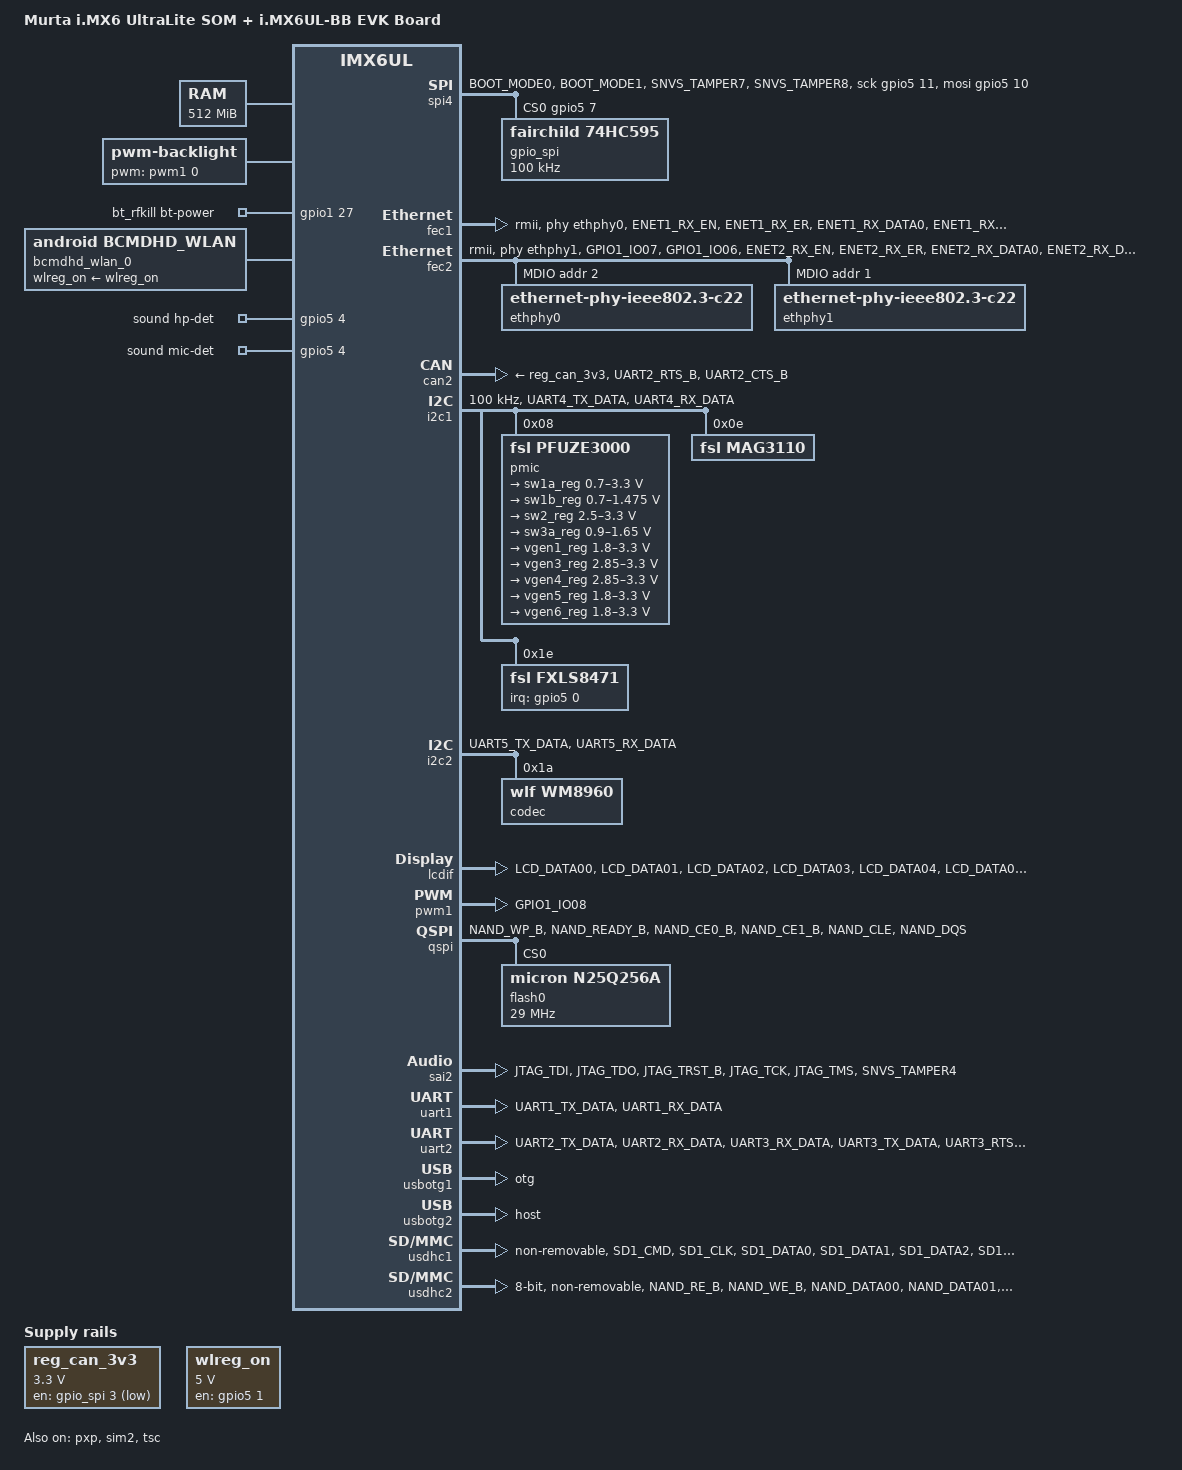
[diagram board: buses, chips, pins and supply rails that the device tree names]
/*
 * Copyright (C) 2017 Murata Electronics
 * Copyright 2017 NXP
 *
 * This program is free software; you can redistribute it and/or modify
 * it under the terms of the GNU General Public License version 2 as
 * published by the Free Software Foundation.
 */

/dts-v1/;

#include <dt-bindings/input/input.h>
#include "imx6ul.dtsi"

/ {
	model = "Murta i.MX6 UltraLite SOM + i.MX6UL-BB EVK Board";
	compatible = "fsl,imx6ul-14x14-evk", "fsl,imx6ul";

	chosen {
		stdout-path = &uart1;
	};

	memory {
		reg = <0x80000000 0x20000000>;
	};

	backlight {
		compatible = "pwm-backlight";
		pwms = <&pwm1 0 5000000>;
		brightness-levels = <0 4 8 16 32 64 128 255>;
		default-brightness-level = <6>;
		status = "okay";
	};

	pxp_v4l2 {
		compatible = "fsl,imx6ul-pxp-v4l2", "fsl,imx6sx-pxp-v4l2", "fsl,imx6sl-pxp-v4l2";
		status = "okay";
	};

	bt_rfkill {
		compatible = "fsl,mxc_bt_rfkill";
		bt-power-gpios = <&gpio1 27 0>;
		status ="okay";
	};

	regulators {
		compatible = "simple-bus";
		#address-cells = <1>;
		#size-cells = <0>;

		/* On i.MX6UL-BB */
		reg_can_3v3: regulator@0 {
			compatible = "regulator-fixed";
			reg = <0>;
			regulator-name = "can-3v3";
			regulator-min-microvolt = <3300000>;
			regulator-max-microvolt = <3300000>;
			gpios = <&gpio_spi 3 GPIO_ACTIVE_LOW>;
		};

		/*
		 * SOM WiFi/BT regulator control
		 * WL_REG_ON: SNVS_TAMPER1 [GPIO5_IO01]
		 * BT_REG_ON: UART3_RTS_B  [GPIO1_IO27]
		 */
		wlreg_on: fixedregulator@100 {
			compatible = "regulator-fixed";
			regulator-min-microvolt = <5000000>;
			regulator-max-microvolt = <5000000>;
			regulator-name = "wlreg_on";
			/*regulator-boot-on;*/
			gpio = <&gpio5 1 0>;
			startup-delay-us = <100>;
			enable-active-high;
		};

	};
	bcmdhd_wlan_0: bcmdhd_wlan@0 {
		compatible = "android,bcmdhd_wlan";
		wlreg_on-supply = <&wlreg_on>;
	};

	sound {
		compatible = "fsl,imx6ul-evk-wm8960",
			   "fsl,imx-audio-wm8960";
		model = "wm8960-audio";
		cpu-dai = <&sai2>;
		audio-codec = <&codec>;
		asrc-controller = <&asrc>;
		codec-master;
		gpr = <&gpr 4 0x100000 0x100000>;
		/*
                 * hp-det = <hp-det-pin hp-det-polarity>;
		 * hp-det-pin: JD1 JD2  or JD3
		 * hp-det-polarity = 0: hp detect high for headphone
		 * hp-det-polarity = 1: hp detect high for speaker
		 */
		hp-det = <3 0>;
		hp-det-gpios = <&gpio5 4 0>;
		mic-det-gpios = <&gpio5 4 0>;
		audio-routing =
			"Headphone Jack", "HP_L",
			"Headphone Jack", "HP_R",
			"Ext Spk", "SPK_LP",
			"Ext Spk", "SPK_LN",
			"Ext Spk", "SPK_RP",
			"Ext Spk", "SPK_RN",
			"LINPUT2", "Mic Jack",
			"LINPUT3", "Mic Jack",
			"RINPUT1", "Main MIC",
			"RINPUT2", "Main MIC",
			"Mic Jack", "MICB",
			"Main MIC", "MICB",
			"CPU-Playback", "ASRC-Playback",
			"Playback", "CPU-Playback",
			"ASRC-Capture", "CPU-Capture",
			"CPU-Capture", "Capture";
	};

	/* i.MX6UL-BB serial-parallel IO extender */
	spi4 {
		compatible = "spi-gpio";
		pinctrl-names = "default";
		pinctrl-0 = <&pinctrl_spi4>;
		pinctrl-assert-gpios = <&gpio5 8 GPIO_ACTIVE_LOW>;
		status = "okay";
		gpio-sck = <&gpio5 11 0>;
		gpio-mosi = <&gpio5 10 0>;
		cs-gpios = <&gpio5 7 0>;
		num-chipselects = <1>;
		#address-cells = <1>;
		#size-cells = <0>;

		gpio_spi: gpio_spi@0 {
			compatible = "fairchild,74hc595";
			gpio-controller;
			#gpio-cells = <2>;
			reg = <0>;
			registers-number = <1>;
			registers-default = /bits/ 8 <0x57>;
			spi-max-frequency = <100000>;
		};
	};
};

/* SOM: PMIC is used with I2C1 to power the ARM/SOC */
&cpu0 {
	/*
	 * on i.MX6UL, no seperated VDD_ARM_IN and VDD_SOC_IN,
	 * to align with other platform and use the same cpufreq
	 * driver, still use the seperated OPP define for arm
	 * and soc.
	 */
	operating-points = <
		/* kHz	uV */
		528000	1175000
		396000	1175000
		198000	1175000
	>;
	fsl,soc-operating-points = <
		/* KHz	uV */
		528000	1175000
		396000	1175000
		198000	1175000
	>;
	arm-supply = <&sw1b_reg>;
	soc-supply = <&sw1b_reg>;
	fsl,arm-soc-shared = <1>;
};

&clks {
	assigned-clocks = <&clks IMX6UL_CLK_PLL4_AUDIO_DIV>;
	assigned-clock-rates = <786432000>;
};

&csi {
	status = "disabled";

	port {
		csi1_ep: endpoint {
			remote-endpoint = <&ov5640_ep>;
		};
	};
};

&fec1 {
	pinctrl-names = "default";
	pinctrl-0 = <&pinctrl_enet1>;
	phy-mode = "rmii";
	phy-handle = <&ethphy0>;
	status = "okay";
};

&fec2 {
	pinctrl-names = "default";
	pinctrl-0 = <&pinctrl_enet2>;
	phy-mode = "rmii";
	phy-handle = <&ethphy1>;
	status = "okay";

	mdio {
		#address-cells = <1>;
		#size-cells = <0>;

		ethphy0: ethernet-phy@2 {
			compatible = "ethernet-phy-ieee802.3-c22";
			reg = <2>;
		};

		ethphy1: ethernet-phy@1 {
			compatible = "ethernet-phy-ieee802.3-c22";
			reg = <1>;
		};
	};
};

&can2 {
	pinctrl-names = "default";
	pinctrl-0 = <&pinctrl_flexcan2>;
	xceiver-supply = <&reg_can_3v3>;
	status = "okay";
};

&gpc {
	fsl,cpu_pupscr_sw2iso = <0x1>;
	fsl,cpu_pupscr_sw = <0x0>;
	fsl,cpu_pdnscr_iso2sw = <0x1>;
	fsl,cpu_pdnscr_iso = <0x1>;
	fsl,ldo-bypass = <1>; /* PMIC, ldo-bypass */
};

&i2c1 {
	clock-frequency = <100000>;
	pinctrl-names = "default";
	pinctrl-0 = <&pinctrl_i2c1>;
	status = "okay";

	pmic: pfuze3000@08 {
		compatible = "fsl,pfuze3000";
		reg = <0x08>;

		regulators {
			/* Supplies NVCC_GPIO, NVCC_ENET, NVCC_UART, NVCC_LCDIF, NVCC_NAND and
			   external peripheral as DCDC_3V3 */
			sw1a_reg: sw1a {
					regulator-min-microvolt = <700000>;
					regulator-max-microvolt = <3300000>;
					regulator-boot-on;
					regulator-always-on;
					regulator-ramp-delay = <6250>;
			};

			/* VDD_ARM_SOC_IN */
			sw1b_reg: sw1b {
				regulator-min-microvolt = <700000>;
				regulator-max-microvolt = <1475000>;
				regulator-boot-on;
				regulator-always-on;
				regulator-ramp-delay = <6250>;
			};

			/* Powers WiFi VBAT and external peripheral as VPERI_3V3 */
			sw2_reg: sw2 {
				regulator-min-microvolt = <2500000>;
				regulator-max-microvolt = <3300000>;
				regulator-boot-on;
				regulator-always-on;
			};

			/* DRAM (NVCC_DRAM, DRAM1V35) supply */
			sw3a_reg: sw3 {
				regulator-min-microvolt = <900000>;
				regulator-max-microvolt = <1650000>;
				regulator-boot-on;
				regulator-always-on;
			};

			/* DRAM supply */
			vref_reg: vrefddr {
				regulator-boot-on;
				regulator-always-on;
			};

			/* VDDA_ADC_3P3.  Connect ADC_VREFH to supply rail for ADC */
			vgen1_reg: vldo1 {
				regulator-min-microvolt = <1800000>;
				regulator-max-microvolt = <3300000>;
				regulator-always-on;
			};

			/* NVCC_SD and VIO reference for WiFi/BT */
			vgen3_reg: vccsd {
				regulator-min-microvolt = <2850000>;
				regulator-max-microvolt = <3300000>;
				regulator-always-on;
			};

			/* VDD_HIGH_IN */
			vgen4_reg: v33 {
				regulator-min-microvolt = <2850000>;
				regulator-max-microvolt = <3300000>;
				regulator-always-on;
			};

			/* Not used */
			vgen5_reg: vldo3 {
				regulator-min-microvolt = <1800000>;
				regulator-max-microvolt = <3300000>;
			};

			/* VLDO_1V8: not used */
			vgen6_reg: vldo4 {
				regulator-min-microvolt = <1800000>;
				regulator-max-microvolt = <3300000>;
			};
		};
	};

	mag3110@0e {
		compatible = "fsl,mag3110";
		reg = <0x0e>;
		position = <2>;
	};

	fxls8471@1e {
		compatible = "fsl,fxls8471";
		reg = <0x1e>;
		position = <0>;
		interrupt-parent = <&gpio5>;
		interrupts = <0 8>;
	};
};

&i2c2 {
	clock_frequency = <100000>;
	pinctrl-names = "default";
	pinctrl-0 = <&pinctrl_i2c2>;
	status = "okay";

	codec: wm8960@1a {
		compatible = "wlf,wm8960";
		reg = <0x1a>;
		clocks = <&clks IMX6UL_CLK_SAI2>;
		clock-names = "mclk";
		wlf,shared-lrclk;
	};

	ov5640: ov5640@3c {
		compatible = "ovti,ov5640";
		reg = <0x3c>;
		pinctrl-names = "default";
		pinctrl-0 = <&pinctrl_csi1>;
		clocks = <&clks IMX6UL_CLK_CSI>;
		clock-names = "csi_mclk";
		pwn-gpios = <&gpio_spi 6 1>;
		rst-gpios = <&gpio_spi 5 0>;
		csi_id = <0>;
		mclk = <24000000>;
		mclk_source = <0>;
		status = "disabled";
		port {
			ov5640_ep: endpoint {
				remote-endpoint = <&csi1_ep>;
			};
		};
	};
};

&iomuxc {
	pinctrl-names = "default";
	pinctrl-0 = <&pinctrl_hog_1>;
	imx6ul-som-evk {
		pinctrl_hog_1: hoggrp-1 {
			fsl,pins = <
			/* SOM does not use SD1_CD, _VSELECT, _RESET */
				MX6UL_PAD_SNVS_TAMPER0__GPIO5_IO00	0x80000000
			>;
		};

		/* SOM WiFi control
		* WL_REG_ON	SNVS_TAMPER1	GPIO5_IO01
		* WL_HOST_WAKE	SNVS_TAMPER3	GPIO5_IO03
		*/
		pinctrl_wifi: wifigrp {
			fsl,pins = <
				MX6UL_PAD_SNVS_TAMPER1__GPIO5_IO01 0x03029
				MX6UL_PAD_SNVS_TAMPER3__GPIO5_IO03 0x79
			>;
		};

		/* SOM BT control
		* BT_REG_ON	UART3_RTS_B	GPIO1_IO27
		* BT_DEV_WAKE	UART3_CTS_B	GPIO1_IO26
		* BT_HOST_WAKE	SNVS_TAMPER6	GPIO5_IO6
		*/
		pinctrl_bt_ctrl: bt_ctrlgrp {
			fsl,pins = <
				MX6UL_PAD_UART3_RTS_B__GPIO1_IO27    0x79
				MX6UL_PAD_UART3_CTS_B__GPIO1_IO26    0x79
				MX6UL_PAD_SNVS_TAMPER6__GPIO5_IO06   0x79
			>;
		};

		pinctrl_csi1: csi1grp {
			fsl,pins = <
				MX6UL_PAD_CSI_MCLK__CSI_MCLK		0x1b088
				MX6UL_PAD_CSI_PIXCLK__CSI_PIXCLK	0x1b088
				MX6UL_PAD_CSI_VSYNC__CSI_VSYNC		0x1b088
				MX6UL_PAD_CSI_HSYNC__CSI_HSYNC		0x1b088
				MX6UL_PAD_CSI_DATA00__CSI_DATA02	0x1b088
				MX6UL_PAD_CSI_DATA01__CSI_DATA03	0x1b088
				MX6UL_PAD_CSI_DATA02__CSI_DATA04	0x1b088
				MX6UL_PAD_CSI_DATA03__CSI_DATA05	0x1b088
				MX6UL_PAD_CSI_DATA04__CSI_DATA06	0x1b088
				MX6UL_PAD_CSI_DATA05__CSI_DATA07	0x1b088
				MX6UL_PAD_CSI_DATA06__CSI_DATA08	0x1b088
				MX6UL_PAD_CSI_DATA07__CSI_DATA09	0x1b088
			>;
		};

		pinctrl_enet1: enet1grp {
			fsl,pins = <
				MX6UL_PAD_ENET1_RX_EN__ENET1_RX_EN	0x1b0b0
				MX6UL_PAD_ENET1_RX_ER__ENET1_RX_ER	0x1b0b0
				MX6UL_PAD_ENET1_RX_DATA0__ENET1_RDATA00	0x1b0b0
				MX6UL_PAD_ENET1_RX_DATA1__ENET1_RDATA01	0x1b0b0
				MX6UL_PAD_ENET1_TX_EN__ENET1_TX_EN	0x1b0b0
				MX6UL_PAD_ENET1_TX_DATA0__ENET1_TDATA00	0x1b0b0
				MX6UL_PAD_ENET1_TX_DATA1__ENET1_TDATA01	0x1b0b0
				MX6UL_PAD_ENET1_TX_CLK__ENET1_REF_CLK1	0x4001b031
			>;
		};

		pinctrl_enet2: enet2grp {
			fsl,pins = <
				MX6UL_PAD_GPIO1_IO07__ENET2_MDC		0x1b0b0
				MX6UL_PAD_GPIO1_IO06__ENET2_MDIO	0x1b0b0
				MX6UL_PAD_ENET2_RX_EN__ENET2_RX_EN	0x1b0b0
				MX6UL_PAD_ENET2_RX_ER__ENET2_RX_ER	0x1b0b0
				MX6UL_PAD_ENET2_RX_DATA0__ENET2_RDATA00	0x1b0b0
				MX6UL_PAD_ENET2_RX_DATA1__ENET2_RDATA01	0x1b0b0
				MX6UL_PAD_ENET2_TX_EN__ENET2_TX_EN	0x1b0b0
				MX6UL_PAD_ENET2_TX_DATA0__ENET2_TDATA00	0x1b0b0
				MX6UL_PAD_ENET2_TX_DATA1__ENET2_TDATA01	0x1b0b0
				MX6UL_PAD_ENET2_TX_CLK__ENET2_REF_CLK2	0x4001b031
			>;
		};

		pinctrl_flexcan2: flexcan2grp{
			fsl,pins = <
				MX6UL_PAD_UART2_RTS_B__FLEXCAN2_RX	0x1b020
				MX6UL_PAD_UART2_CTS_B__FLEXCAN2_TX	0x1b020
			>;
		};

		pinctrl_i2c1: i2c1grp {
			fsl,pins = <
				MX6UL_PAD_UART4_TX_DATA__I2C1_SCL 0x4001b8b0
				MX6UL_PAD_UART4_RX_DATA__I2C1_SDA 0x4001b8b0
			>;
		};

		pinctrl_i2c2: i2c2grp {
			fsl,pins = <
				MX6UL_PAD_UART5_TX_DATA__I2C2_SCL 0x4001b8b0
				MX6UL_PAD_UART5_RX_DATA__I2C2_SDA 0x4001b8b0
			>;
		};

		pinctrl_lcdif_dat: lcdifdatgrp {
			fsl,pins = <
				MX6UL_PAD_LCD_DATA00__LCDIF_DATA00  0x79
				MX6UL_PAD_LCD_DATA01__LCDIF_DATA01  0x79
				MX6UL_PAD_LCD_DATA02__LCDIF_DATA02  0x79
				MX6UL_PAD_LCD_DATA03__LCDIF_DATA03  0x79
				MX6UL_PAD_LCD_DATA04__LCDIF_DATA04  0x79
				MX6UL_PAD_LCD_DATA05__LCDIF_DATA05  0x79
				MX6UL_PAD_LCD_DATA06__LCDIF_DATA06  0x79
				MX6UL_PAD_LCD_DATA07__LCDIF_DATA07  0x79
				MX6UL_PAD_LCD_DATA08__LCDIF_DATA08  0x79
				MX6UL_PAD_LCD_DATA09__LCDIF_DATA09  0x79
				MX6UL_PAD_LCD_DATA10__LCDIF_DATA10  0x79
				MX6UL_PAD_LCD_DATA11__LCDIF_DATA11  0x79
				MX6UL_PAD_LCD_DATA12__LCDIF_DATA12  0x79
				MX6UL_PAD_LCD_DATA13__LCDIF_DATA13  0x79
				MX6UL_PAD_LCD_DATA14__LCDIF_DATA14  0x79
				MX6UL_PAD_LCD_DATA15__LCDIF_DATA15  0x79
				MX6UL_PAD_LCD_DATA16__LCDIF_DATA16  0x79
				MX6UL_PAD_LCD_DATA17__LCDIF_DATA17  0x79
				MX6UL_PAD_LCD_DATA18__LCDIF_DATA18  0x79
				MX6UL_PAD_LCD_DATA19__LCDIF_DATA19  0x79
				MX6UL_PAD_LCD_DATA20__LCDIF_DATA20  0x79
				MX6UL_PAD_LCD_DATA21__LCDIF_DATA21  0x79
				MX6UL_PAD_LCD_DATA22__LCDIF_DATA22  0x79
				MX6UL_PAD_LCD_DATA23__LCDIF_DATA23  0x79
			>;
		};

		pinctrl_lcdif_ctrl: lcdifctrlgrp {
			fsl,pins = <
				MX6UL_PAD_LCD_CLK__LCDIF_CLK	    0x79
				MX6UL_PAD_LCD_ENABLE__LCDIF_ENABLE  0x79
				MX6UL_PAD_LCD_HSYNC__LCDIF_HSYNC    0x79
				MX6UL_PAD_LCD_VSYNC__LCDIF_VSYNC    0x79
				/* used for lcd reset */
				MX6UL_PAD_SNVS_TAMPER9__GPIO5_IO09  0x79
			>;
		};

		pinctrl_pwm1: pwm1grp {
			fsl,pins = <
				MX6UL_PAD_GPIO1_IO08__PWM1_OUT   0x110b0
			>;
		};

		pinctrl_qspi: qspigrp {
			fsl,pins = <
				MX6UL_PAD_NAND_WP_B__QSPI_A_SCLK      0x70a1
				MX6UL_PAD_NAND_READY_B__QSPI_A_DATA00 0x70a1
				MX6UL_PAD_NAND_CE0_B__QSPI_A_DATA01   0x70a1
				MX6UL_PAD_NAND_CE1_B__QSPI_A_DATA02   0x70a1
				MX6UL_PAD_NAND_CLE__QSPI_A_DATA03     0x70a1
				MX6UL_PAD_NAND_DQS__QSPI_A_SS0_B      0x70a1
			>;
		};

		pinctrl_sai2: sai2grp {
			fsl,pins = <
				MX6UL_PAD_JTAG_TDI__SAI2_TX_BCLK	0x17088
				MX6UL_PAD_JTAG_TDO__SAI2_TX_SYNC	0x17088
				MX6UL_PAD_JTAG_TRST_B__SAI2_TX_DATA	0x11088
				MX6UL_PAD_JTAG_TCK__SAI2_RX_DATA	0x11088
				MX6UL_PAD_JTAG_TMS__SAI2_MCLK		0x17088
				MX6UL_PAD_SNVS_TAMPER4__GPIO5_IO04	0x17059
			>;
		};

		pinctrl_sim2_1: sim2grp-1 {
			fsl,pins = <
				MX6UL_PAD_CSI_DATA03__SIM2_PORT1_PD		0xb808
				MX6UL_PAD_CSI_DATA04__SIM2_PORT1_CLK		0x11
				MX6UL_PAD_CSI_DATA05__SIM2_PORT1_RST_B		0xb810
				MX6UL_PAD_CSI_DATA06__SIM2_PORT1_SVEN		0xb810
				MX6UL_PAD_CSI_DATA07__SIM2_PORT1_TRXD		0xb811
				MX6UL_PAD_CSI_DATA02__GPIO4_IO23		0x3008
			>;
		};

		pinctrl_spi4: spi4grp {
			fsl,pins = <
				MX6UL_PAD_BOOT_MODE0__GPIO5_IO10	0x70a1
				MX6UL_PAD_BOOT_MODE1__GPIO5_IO11	0x70a1
				MX6UL_PAD_SNVS_TAMPER7__GPIO5_IO07	0x70a1
				MX6UL_PAD_SNVS_TAMPER8__GPIO5_IO08	0x80000000
			>;
		};

		pinctrl_tsc: tscgrp {
			fsl,pins = <
				MX6UL_PAD_GPIO1_IO01__GPIO1_IO01	0xb0
				MX6UL_PAD_GPIO1_IO02__GPIO1_IO02	0xb0
				MX6UL_PAD_GPIO1_IO03__GPIO1_IO03	0xb0
				MX6UL_PAD_GPIO1_IO04__GPIO1_IO04	0xb0
			>;
		};

		pinctrl_uart1: uart1grp {
			fsl,pins = <
				MX6UL_PAD_UART1_TX_DATA__UART1_DCE_TX 0x1b0b1
				MX6UL_PAD_UART1_RX_DATA__UART1_DCE_RX 0x1b0b1
			>;
		};

		pinctrl_uart2: uart2grp {
			fsl,pins = <
				MX6UL_PAD_UART2_TX_DATA__UART2_DCE_TX	0x1b0b1
				MX6UL_PAD_UART2_RX_DATA__UART2_DCE_RX	0x1b0b1
				MX6UL_PAD_UART3_RX_DATA__UART2_DCE_RTS	0x1b0b1
				MX6UL_PAD_UART3_TX_DATA__UART2_DCE_CTS	0x1b0b1
			>;
		};

		pinctrl_usdhc1: usdhc1grp {
			fsl,pins = <
				MX6UL_PAD_SD1_CMD__USDHC1_CMD     0x17059
				MX6UL_PAD_SD1_CLK__USDHC1_CLK     0x10071
				MX6UL_PAD_SD1_DATA0__USDHC1_DATA0 0x17059
				MX6UL_PAD_SD1_DATA1__USDHC1_DATA1 0x17059
				MX6UL_PAD_SD1_DATA2__USDHC1_DATA2 0x17059
				MX6UL_PAD_SD1_DATA3__USDHC1_DATA3 0x17059
			>;
		};

		pinctrl_usdhc2: usdhc2grp {
			fsl,pins = <
				MX6UL_PAD_NAND_RE_B__USDHC2_CLK     0x10069
				MX6UL_PAD_NAND_WE_B__USDHC2_CMD     0x17059
				MX6UL_PAD_NAND_DATA00__USDHC2_DATA0 0x17059
				MX6UL_PAD_NAND_DATA01__USDHC2_DATA1 0x17059
				MX6UL_PAD_NAND_DATA02__USDHC2_DATA2 0x17059
				MX6UL_PAD_NAND_DATA03__USDHC2_DATA3 0x17059
			>;
		};

		pinctrl_usdhc2_8bit: usdhc2grp_8bit {
			fsl,pins = <
				MX6UL_PAD_NAND_RE_B__USDHC2_CLK     0x10069
				MX6UL_PAD_NAND_WE_B__USDHC2_CMD     0x17059
				MX6UL_PAD_NAND_DATA00__USDHC2_DATA0 0x17059
				MX6UL_PAD_NAND_DATA01__USDHC2_DATA1 0x17059
				MX6UL_PAD_NAND_DATA02__USDHC2_DATA2 0x17059
				MX6UL_PAD_NAND_DATA03__USDHC2_DATA3 0x17059
				MX6UL_PAD_NAND_DATA04__USDHC2_DATA4 0x17059
				MX6UL_PAD_NAND_DATA05__USDHC2_DATA5 0x17059
				MX6UL_PAD_NAND_DATA06__USDHC2_DATA6 0x17059
				MX6UL_PAD_NAND_DATA07__USDHC2_DATA7 0x17059
			>;
		};

		pinctrl_wdog: wdoggrp {
			fsl,pins = <
				MX6UL_PAD_LCD_RESET__WDOG1_WDOG_ANY    0x30b0
			>;
		};
	};
};

&lcdif {
	pinctrl-names = "default";
	pinctrl-0 = <&pinctrl_lcdif_dat
		     &pinctrl_lcdif_ctrl>;
	display = <&display0>;
	status = "okay";

	display0: display {
		bits-per-pixel = <16>;
		bus-width = <24>;

		display-timings {
			native-mode = <&timing0>;
			timing0: timing0 {
			clock-frequency = <9200000>;
			hactive = <480>;
			vactive = <272>;
			hfront-porch = <8>;
			hback-porch = <4>;
			hsync-len = <41>;
			vback-porch = <2>;
			vfront-porch = <4>;
			vsync-len = <10>;

			hsync-active = <0>;
			vsync-active = <0>;
			de-active = <1>;
			pixelclk-active = <0>;
			};
		};
	};
};

&pwm1 {
	pinctrl-names = "default";
	pinctrl-0 = <&pinctrl_pwm1>;
	status = "okay";
};

&pxp {
	status = "okay";
};

&qspi {
	pinctrl-names = "default";
	pinctrl-0 = <&pinctrl_qspi>;
	status = "okay";
	ddrsmp=<0>;

	flash0: n25q256a@0 {
		#address-cells = <1>;
		#size-cells = <1>;
		compatible = "micron,n25q256a";
		spi-max-frequency = <29000000>;
		spi-nor,ddr-quad-read-dummy = <6>;
		reg = <0>;
	};
};

&sai2 {
	pinctrl-names = "default";
	pinctrl-0 = <&pinctrl_sai2>;

	assigned-clocks = <&clks IMX6UL_CLK_SAI2_SEL>,
			  <&clks IMX6UL_CLK_SAI2>;
	assigned-clock-parents = <&clks IMX6UL_CLK_PLL4_AUDIO_DIV>;
	assigned-clock-rates = <0>, <12288000>;

	status = "okay";
};

&sim2 {
	pinctrl-names = "default";
	pinctrl-0 = <&pinctrl_sim2_1>;
	assigned-clocks = <&clks IMX6UL_CLK_SIM_SEL>;
	assigned-clock-parents = <&clks IMX6UL_CLK_SIM_PODF>;
	assigned-clock-rates = <240000000>;
	/* GPIO_ACTIVE_HIGH/LOW:sim card voltage control
	 * NCN8025:Vcc = ACTIVE_HIGH?5V:3V
	 * TDA8035:Vcc = ACTIVE_HIGH?5V:1.8V
	 */
	pinctrl-assert-gpios = <&gpio4 23 GPIO_ACTIVE_HIGH>;
	port = <1>;
	sven_low_active;
	status = "okay";
};

&tsc {
	pinctrl-names = "default";
	pinctrl-0 = <&pinctrl_tsc>;
	xnur-gpio = <&gpio1 3 GPIO_ACTIVE_LOW>;
	measure-delay-time = <0xffff>;
	pre-charge-time = <0xfff>;
	status = "okay";
};

&uart1 {
	pinctrl-names = "default";
	pinctrl-0 = <&pinctrl_uart1>;
	status = "okay";
};

/* SOM BT uses UART2 */
&uart2 {
	pinctrl-names = "default";
	pinctrl-0 = <&pinctrl_uart2  &pinctrl_bt_ctrl>;
	fsl,uart-has-rtscts;
	status = "okay";
};

&usbotg1 {
	dr_mode = "otg";
	srp-disable;
	hnp-disable;
	adp-disable;
	status = "okay";
};

&usbotg2 {
	dr_mode = "host";
	disable-over-current;
	status = "okay";
};

&usbphy1 {
	tx-d-cal = <0x5>;
};

&usbphy2 {
	tx-d-cal = <0x5>;
};

/* WiFi in SOM is powered by PMIC VPERI_3V3 and NVCC_SD */
&usdhc1 {
	pinctrl-names = "default";
	pinctrl-0 = <&pinctrl_usdhc1 &pinctrl_wifi>;
	keep-power-in-suspend;
	enable-sdio-wakeup;
	no-1-8-v;	/* Fix voltage to 3.3V for SOM */
	non-removable;
	cd-post;
	pm-ignore-notify;
	wifi-host; 	/* Add hook for SD card detect mechanism for BCMDHD driver */
	status = "okay";
};

/* eMMC in SOM is powered by PMIC DCDC_3V3 and NVCC_NAND */
&usdhc2 {
	pinctrl-names = "default";
	pinctrl-0 = <&pinctrl_usdhc2_8bit>;
	bus-width = <8>;
	no-1-8-v;
	keep-power-in-suspend;
	non-removable;
	pm-ignore-notify;
	status = "okay";
};

&wdog1 {
	pinctrl-names = "default";
	pinctrl-0 = <&pinctrl_wdog>;
	fsl,wdog_b;
};
